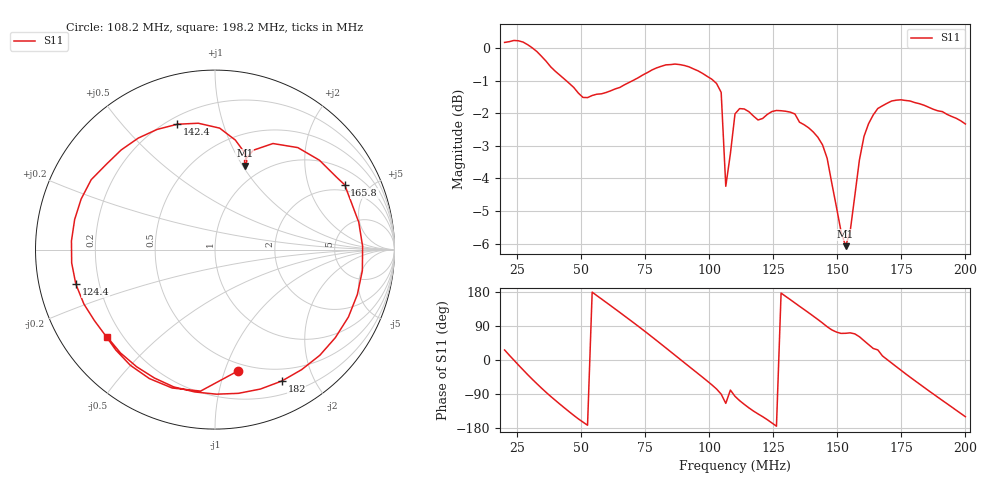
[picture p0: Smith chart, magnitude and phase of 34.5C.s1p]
# HZ S RI R 50
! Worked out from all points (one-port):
!   101 points, 20 MHz to 200 MHz, reference 50 ohm
!   lowest |S11| = -6.1 dB at 153.2 MHz (marker M1), VSWR 2.97, Z = 41.2 + j51.2 ohm
!   |S11| at or under -10 dB: nowhere
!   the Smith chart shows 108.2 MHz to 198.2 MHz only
!   S11 on the Smith chart (normalised r, x): 108.2 MHz: 0.43, -1.11; 124.4 MHz: 0.11, -0.12; 142.4 MHz: 0.24, +0.72; 165.8 MHz: 1.68, +3.48; 182 MHz: 0.35, -1.58; 198.2 MHz: 0.14, -0.35
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2e7  0.9135 0.4532
2.54e7  0.9987 -0.2341
3.26e7  0.4551 -0.8764
4.34e7  -0.5332 -0.7197
5.42e7  -0.8454 0.0137
6.5e7  -0.5061 0.7075
7.58e7  0.3078 0.8637
8.84e7  0.942 0.0441
9.38e7  0.8314 -0.414
1.01e8  0.3668 -0.8166
1.046e8  -0.00175 -0.8549
1.064e8  -0.2537 -0.5587
1.082e8  0.1264 -0.6768
1.1e8  -0.0802 -0.7883
1.244e8  -0.7753 -0.1926
1.334e8  -0.6898 0.3894
1.424e8  -0.2104 0.6984
1.478e8  0.1131 0.6104
1.532e8  0.1659 0.4682
1.55e8  0.1646 0.4971
1.586e8  0.3227 0.591
1.658e8  0.7224 0.3612
1.712e8  0.821 -0.1172
1.784e8  0.584 -0.5888
1.82e8  0.3726 -0.7321
1.892e8  -0.1129 -0.7931
1.982e8  -0.6015 -0.4858
2e8  -0.66 -0.386
